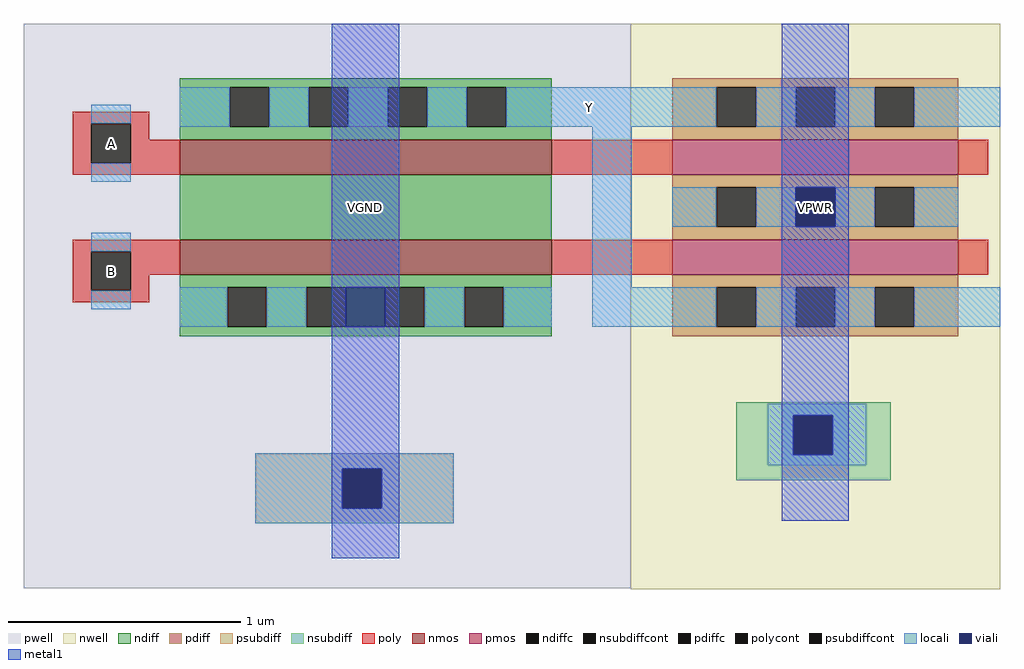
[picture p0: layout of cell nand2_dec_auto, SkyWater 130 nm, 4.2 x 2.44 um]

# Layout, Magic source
magic
tech sky130A
magscale 1 2
<< nwell >>
rect 228 -171 546 316
<< pwell >>
rect -294 -170 228 316
<< nmos >>
rect -160 186 160 216
rect -160 100 160 130
<< pmos >>
rect 264 186 510 216
rect 264 100 510 130
<< ndiff >>
rect -160 261 160 269
rect -160 227 -117 261
rect -83 227 -49 261
rect -15 227 19 261
rect 53 227 87 261
rect 121 227 160 261
rect -160 216 160 227
rect -160 130 160 186
rect -160 89 160 100
rect -160 55 -119 89
rect -85 55 -51 89
rect -17 55 17 89
rect 51 55 85 89
rect 119 55 160 89
rect -160 47 160 55
<< pdiff >>
rect 264 261 510 269
rect 264 227 302 261
rect 336 227 370 261
rect 404 227 438 261
rect 472 227 510 261
rect 264 216 510 227
rect 264 175 510 186
rect 264 141 302 175
rect 336 141 370 175
rect 404 141 438 175
rect 472 141 510 175
rect 264 130 510 141
rect 264 89 510 100
rect 264 55 302 89
rect 336 55 370 89
rect 404 55 438 89
rect 472 55 510 89
rect 264 47 510 55
<< ndiffc >>
rect -117 227 -83 261
rect -49 227 -15 261
rect 19 227 53 261
rect 87 227 121 261
rect -119 55 -85 89
rect -51 55 -17 89
rect 17 55 51 89
rect 85 55 119 89
<< pdiffc >>
rect 302 227 336 261
rect 370 227 404 261
rect 438 227 472 261
rect 302 141 336 175
rect 370 141 404 175
rect 438 141 472 175
rect 302 55 336 89
rect 370 55 404 89
rect 438 55 472 89
<< psubdiff >>
rect -95 -67 76 -54
rect -95 -101 -20 -67
rect 14 -101 76 -67
rect -95 -114 76 -101
<< nsubdiff >>
rect 319 -21 452 -10
rect 319 -55 368 -21
rect 402 -55 452 -21
rect 319 -77 452 -55
<< psubdiffcont >>
rect -20 -101 14 -67
<< nsubdiffcont >>
rect 368 -55 402 -21
<< poly >>
rect -252 230 -186 240
rect -252 196 -236 230
rect -202 216 -186 230
rect -202 196 -160 216
rect -252 186 -160 196
rect 160 186 264 216
rect 510 186 536 216
rect -252 120 -160 130
rect -252 86 -236 120
rect -202 100 -160 120
rect 160 100 264 130
rect 510 100 536 130
rect -202 86 -186 100
rect -252 76 -186 86
<< polycont >>
rect -236 196 -202 230
rect -236 86 -202 120
<< locali >>
rect -236 230 -202 246
rect -160 227 -117 261
rect -83 227 -49 261
rect -15 227 19 261
rect 53 227 87 261
rect 121 227 302 261
rect 336 227 370 261
rect 404 227 438 261
rect 472 227 546 261
rect -236 180 -202 196
rect -236 120 -202 136
rect 195 89 229 227
rect 264 141 302 175
rect 336 141 370 175
rect 404 141 438 175
rect 472 141 510 175
rect -236 70 -202 86
rect -160 55 -119 89
rect -85 55 -51 89
rect 51 55 85 89
rect 119 55 160 89
rect 195 55 302 89
rect 336 55 370 89
rect 404 55 438 89
rect 472 55 546 89
rect 346 -21 431 -11
rect -95 -67 76 -54
rect 346 -55 368 -21
rect 402 -55 431 -21
rect 346 -64 431 -55
rect -95 -101 -20 -67
rect 14 -101 76 -67
rect -95 -114 76 -101
<< viali >>
rect 370 141 404 175
rect -17 55 17 89
rect 368 -55 402 -21
rect -20 -101 14 -67
<< metal1 >>
rect -29 89 29 316
rect -29 55 -17 89
rect 17 55 29 89
rect -29 -67 29 55
rect -29 -101 -20 -67
rect 14 -101 29 -67
rect -29 -144 29 -101
rect 358 175 416 316
rect 358 141 370 175
rect 404 141 416 175
rect 358 -21 416 141
rect 358 -55 368 -21
rect 402 -55 416 -21
rect 358 -112 416 -55
<< labels >>
rlabel locali -236 70 -202 136 7 B
port 1 w
rlabel locali -236 180 -202 246 7 A
port 0 w
rlabel locali -160 227 546 261 3 Y
port 4 e
rlabel metal1 -29 0 29 316 5 VGND
port 2 s
rlabel metal1 358 0 416 316 1 VPWR
port 3 n
rlabel nwell 228 0 546 316 3 VPB
<< end >>
